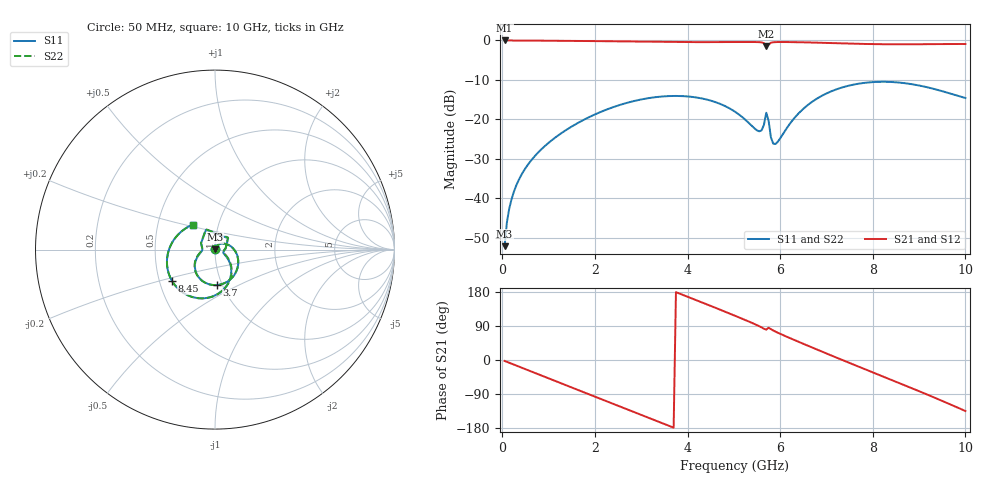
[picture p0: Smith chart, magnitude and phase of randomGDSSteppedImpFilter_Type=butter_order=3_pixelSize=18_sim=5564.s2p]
! freq	dB(S11)	phase(S11)	dB(S12)	phase(S12)
!  dB(S21)	phase(S21)	dB(S22)	phase(S22)
!S-par simulation data
#  GHz  S  DB  R 50
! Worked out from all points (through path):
!   200 points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, 50 MHz to 10 GHz, reference 50 ohm
!   highest |S21| = -0.01 dB at 50 MHz (marker M1); lowest = -1.4 dB at 5.7 GHz (marker M2)
!   group delay of S21, straight-line fit = 137 ps
!   lowest |S11| = -52.1 dB at 50 MHz (marker M3), VSWR 1.00, Z = 50.1 + j0.242 ohm
!   |S11| at or under -10 dB: start of sweep to end of sweep
!   |S22| runs from -52.1 to -10.5 dB; largest |S21 - S12| = 0
!   S11 on the Smith chart (normalised r, x): 50 MHz: 1.00, +0.00; 3.7 GHz: 0.94, -0.39; 8.45 GHz: 0.58, -0.22; 10 GHz: 0.75, +0.22
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0.05  -52.12 76.8  -0.01 -2.5  -0.01 -2.5  -52.14 77.0
0.1  -46.04 78.2  -0.01 -4.9  -0.01 -4.9  -46.03 78.1
0.2  -40.21 75.9  -0.02 -9.7  -0.02 -9.7  -40.20 75.7
0.45  -33.30 66.5  -0.03 -21.8  -0.03 -21.8  -33.30 66.3
1.15  -24.54 34.6  -0.08 -55.6  -0.08 -55.6  -24.55 34.2
1.75  -20.16 6.0  -0.14 -84.6  -0.14 -84.6  -20.17 5.5
2.5  -16.48 -29.9  -0.25 -120.9  -0.25 -120.9  -16.49 -30.5
3.4  -14.25 -72.9  -0.38 -164.2  -0.38 -164.2  -14.26 -73.6
3.7  -14.06 -87.1  -0.41 -178.6  -0.41 -178.6  -14.07 -87.9
4.35  -14.80 -117.7  -0.43 150.1  -0.43 150.1  -14.80 -118.7
5.05  -18.25 -150.7  -0.40 115.5  -0.40 115.5  -18.26 -152.3
5.55  -23.03 -180.0  -0.44 89.1  -0.44 89.1  -23.02 177.5
5.65  -21.36 155.9  -0.68 82.3  -0.68 82.3  -21.24 154.3
5.7  -18.32 114.2  -1.42 80.1  -1.42 80.1  -18.12 114.1
5.8  -24.53 4.8  -0.58 81.5  -0.58 81.5  -24.42 8.8
5.9  -26.23 -18.8  -0.42 74.8  -0.42 74.8  -26.26 -14.3
6.7  -15.46 -58.5  -0.53 32.5  -0.53 32.5  -15.47 -57.4
7.5  -11.41 -97.2  -0.80 -7.9  -0.80 -7.9  -11.41 -96.7
8.35  -10.50 -138.8  -0.98 -49.8  -0.98 -49.8  -10.50 -138.6
8.45  -10.56 -143.7  -0.98 -54.8  -0.98 -54.8  -10.56 -143.5
9.25  -12.07 175.2  -0.94 -95.0  -0.94 -95.0  -12.08 175.3
10  -14.59 131.7  -0.91 -134.6  -0.91 -134.6  -14.60 131.6
